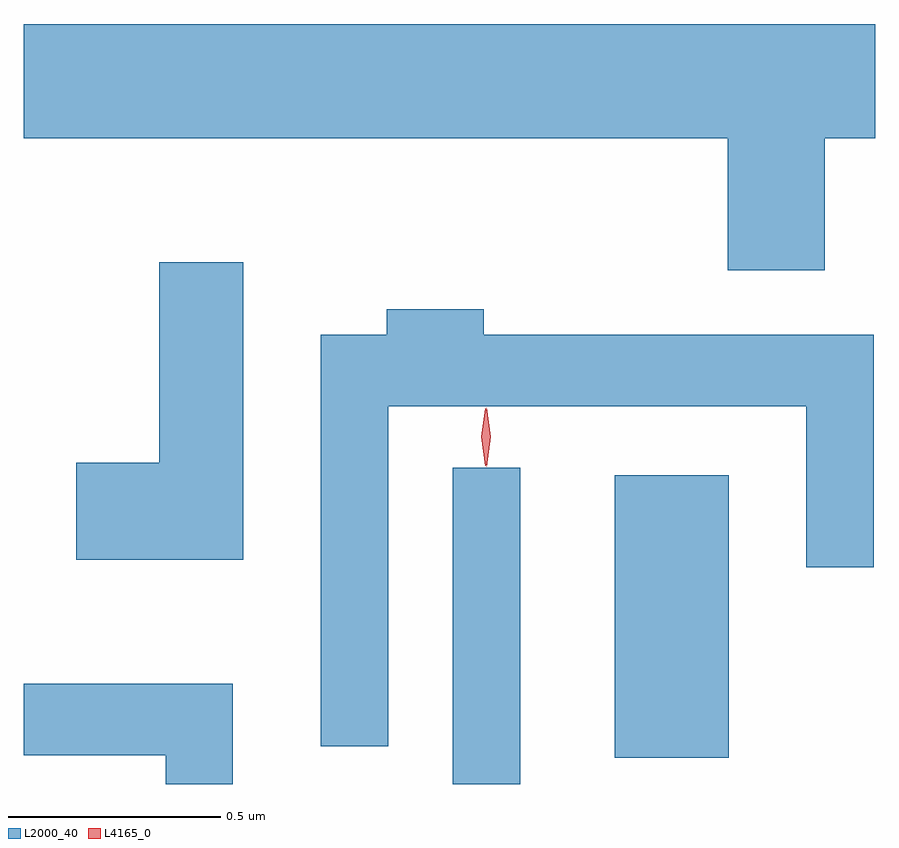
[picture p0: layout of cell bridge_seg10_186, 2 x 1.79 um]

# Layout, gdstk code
import gdstk
lib = gdstk.Library(unit=1e-6, precision=1e-09)
def R(c, l, rs):  # rectangles x0, y0, x1, y1
    for r in rs: c.add(gdstk.rectangle(r[:2], r[2:], *l))
def P(c, l, *ps):  # polygons
    for p in ps: c.add(gdstk.Polygon(p, *l))
L2000_40 = (2000, 40)
L4165_0 = (4165, 0)

bridge_seg10_186 = lib.new_cell('bridge_seg10_186')
R(bridge_seg10_186, L2000_40, [(1687.476,2087.979,1687.634,2088.722), (1687.856,2088.041,1688.124,2088.704)])
P(bridge_seg10_186, L2000_40, [(1688.349,2089.496),(1688.468,2089.496),(1688.468,2089.764),(1686.468,2089.764),(1686.468,2089.496),(1688.121,2089.496),(1688.121,2089.186),(1688.349,2089.186)],
  [(1686.984,2089.204),(1686.786,2089.204),(1686.786,2088.734),(1686.591,2088.734),(1686.591,2088.506),(1686.984,2088.506)],
  [(1687.324,2088.866),(1688.306,2088.866),(1688.306,2088.488),(1688.464,2088.488),(1688.464,2089.034),(1687.549,2089.034),(1687.549,2089.094),(1687.321,2089.094),(1687.321,2089.034),(1687.166,2089.034),(1687.166,2088.068),(1687.324,2088.068)],
  [(1686.959,2088.214),(1686.468,2088.214),(1686.468,2088.046),(1686.801,2088.046),(1686.801,2087.979),(1686.959,2087.979)])
P(bridge_seg10_186, L4165_0, [(1687.555,2088.724),(1687.555,2088.724),(1687.545,2088.794),(1687.555,2088.863),(1687.555,2088.863),(1687.556,2088.863),(1687.565,2088.794),(1687.556,2088.724)],
  [(1687.552,2088.727),(1687.543,2088.794),(1687.552,2088.86),(1687.553,2088.861),(1687.553,2088.86),(1687.563,2088.794),(1687.553,2088.727),(1687.553,2088.727)])

lib.write_gds('bridge_seg10_186.gds')
